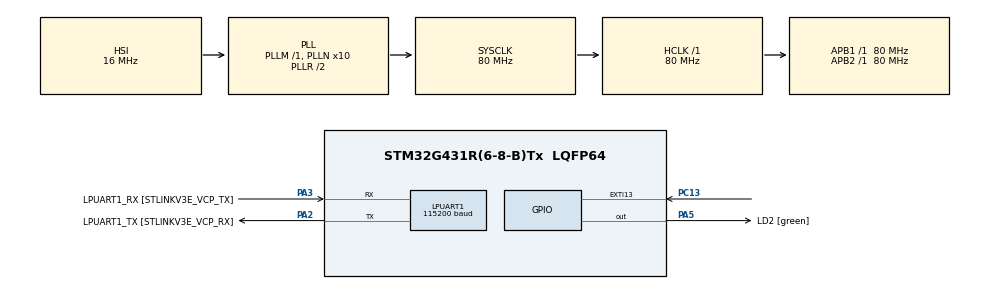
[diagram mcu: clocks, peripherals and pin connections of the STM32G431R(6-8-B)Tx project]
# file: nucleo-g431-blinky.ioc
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LPUART1.BaudRate=115200
LPUART1.WordLength=UART_WORDLENGTH_8B
Mcu.Family=STM32G4
Mcu.Name=STM32G431R(6-8-B)Tx
Mcu.Package=LQFP64
NVIC.EXTI15_10_IRQn=true\:0\:0\:false\:false\:true\:true\:true\:true
NVIC.PriorityGroup=NVIC_PRIORITYGROUP_4
NVIC.TIM1_UP_TIM16_IRQn=true\:0\:0\:false\:false\:true\:true\:true\:true
PA13.GPIO_Label=T_SWDIO
PA13.Mode=Serial_Wire
PA13.Signal=SYS_JTMS-SWDIO
PA14.GPIO_Label=T_SWCLK
PA14.Mode=Serial_Wire
PA14.Signal=SYS_JTCK-SWCLK
PA2.GPIO_Label=LPUART1_TX [STLINKV3E_VCP_RX]
PA2.Mode=Asynchronous
PA2.Signal=LPUART1_TX
PA3.GPIO_Label=LPUART1_RX [STLINKV3E_VCP_TX]
PA3.Mode=Asynchronous
PA3.Signal=LPUART1_RX
PA5.GPIO_Label=LD2 [green]
PA5.Signal=GPIO_Output
PB3.GPIO_Label=T_SWO
PB3.Signal=SYS_JTDO-SWO
PC13.GPIO_ModeDefaultEXTI=GPIO_MODE_IT_FALLING
PC13.Signal=GPXTI13
PC14-OSC32_IN.Mode=LSE-External-Oscillator
PC14-OSC32_IN.Signal=RCC_OSC32_IN
PC15-OSC32_OUT.Mode=LSE-External-Oscillator
PC15-OSC32_OUT.Signal=RCC_OSC32_OUT
PF0-OSC_IN.Mode=HSE-External-Oscillator
PF0-OSC_IN.Signal=RCC_OSC_IN
PF1-OSC_OUT.Mode=HSE-External-Oscillator
PF1-OSC_OUT.Signal=RCC_OSC_OUT
ProjectManager.HeapSize=0x200
ProjectManager.StackSize=0x400
ProjectManager.TargetToolchain=STM32CubeIDE
RCC.ADC12Freq_Value=80000000
RCC.AHBFreq_Value=80000000
RCC.APB1Freq_Value=80000000
RCC.APB1TimFreq_Value=80000000
RCC.APB2Freq_Value=80000000
RCC.APB2TimFreq_Value=80000000
RCC.CortexFreq_Value=80000000
RCC.EXTERNAL_CLOCK_VALUE=12288000
RCC.HCLKFreq_Value=80000000
RCC.HSE_VALUE=24000000
RCC.HSI48_VALUE=48000000
RCC.HSI_VALUE=16000000
RCC.PLLN=10
RCC.RTCClockSelection=RCC_RTCCLKSOURCE_LSE
RCC.SYSCLKFreq_VALUE=80000000
RCC.SYSCLKSource=RCC_SYSCLKSOURCE_PLLCLK
RCC.USBFreq_Value=80000000
RCC.VCOOutputFreq_Value=160000000
TIM16.Prescaler=8000-1
VP_SYS_VS_DBSignals.Mode=DisableDeadBatterySignals
VP_TIM16_VS_ClockSourceINT.Mode=Enable_Timer
board=NUCLEO-G431RB

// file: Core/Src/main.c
/* USER CODE BEGIN Header */
/**
  ******************************************************************************
  * @file           : main.c
  * @brief          : Main program body
  ******************************************************************************
  * @attention
  *
  * Copyright (c) 2023 STMicroelectronics.
  * All rights reserved.
  *
  * This software is licensed under terms that can be found in the LICENSE file
  * in the root directory of this software component.
  * If no LICENSE file comes with this software, it is provided AS-IS.
  *
  ******************************************************************************
  */
/* USER CODE END Header */
#include "main.h"

UART_HandleTypeDef hlpuart1;

TIM_HandleTypeDef htim16;

void SystemClock_Config(void);
static void MX_GPIO_Init(void);
static void MX_LPUART1_UART_Init(void);
static void MX_TIM16_Init(void);

/* USER CODE BEGIN 0 */
int count = 0;

void HAL_GPIO_EXTI_Callback(uint16_t GPIO_Pin){
	if(GPIO_Pin == GPIO_PIN_13){
		count++;
			if(count == 3){
				count = 0;
			}
	}
}
/* USER CODE END 0 */

int main(void)
{

  /* MCU Configuration--------------------------------------------------------*/

  /* Reset of all peripherals, Initializes the Flash interface and the Systick. */
  HAL_Init();

  /* Configure the system clock */
  SystemClock_Config();

  /* Initialize all configured peripherals */
  MX_GPIO_Init();
  MX_LPUART1_UART_Init();
  MX_TIM16_Init();
  /* USER CODE BEGIN 2 */
  HAL_TIM_Base_Start_IT(&htim16);

  uint16_t timer_val;

  timer_val = __HAL_TIM_GET_COUNTER(&htim16);
  /* USER CODE END 2 */

  /* Infinite loop */
  /* USER CODE BEGIN WHILE */
  while (1)
  {
	  switch (count){
	  	 case 0:
	  		if(__HAL_TIM_GET_COUNTER(&htim16) - timer_val >= 10000){
	  			GPIOA->ODR ^= GPIO_PIN_5;
	  			timer_val = __HAL_TIM_GET_COUNTER(&htim16);
	  		}
	  		break;
	  	 case 1:
	  		if(__HAL_TIM_GET_COUNTER(&htim16) - timer_val >= 5000){
	  			GPIOA->ODR ^= GPIO_PIN_5;
	  			timer_val = __HAL_TIM_GET_COUNTER(&htim16);
	  		}
		  	break;
	  	 case 2:
	  		if(__HAL_TIM_GET_COUNTER(&htim16) - timer_val >= 2500){
	  			HAL_GPIO_TogglePin(GPIOA, GPIO_PIN_5);
	  			timer_val = __HAL_TIM_GET_COUNTER(&htim16);
	  		}
			break;
	  }

    /* USER CODE END WHILE */

  }
}

void SystemClock_Config(void)
{
  RCC_OscInitTypeDef RCC_OscInitStruct = {0};
  RCC_ClkInitTypeDef RCC_ClkInitStruct = {0};

  /** Configure the main internal regulator output voltage
  */
  HAL_PWREx_ControlVoltageScaling(PWR_REGULATOR_VOLTAGE_SCALE1);

  /** Initializes the RCC Oscillators according to the specified parameters
  * in the RCC_OscInitTypeDef structure.
  */
  RCC_OscInitStruct.OscillatorType = RCC_OSCILLATORTYPE_HSI;
  RCC_OscInitStruct.HSIState = RCC_HSI_ON;
  RCC_OscInitStruct.HSICalibrationValue = RCC_HSICALIBRATION_DEFAULT;
  RCC_OscInitStruct.PLL.PLLState = RCC_PLL_ON;
  RCC_OscInitStruct.PLL.PLLSource = RCC_PLLSOURCE_HSI;
  RCC_OscInitStruct.PLL.PLLM = RCC_PLLM_DIV1;
  RCC_OscInitStruct.PLL.PLLN = 10;
  RCC_OscInitStruct.PLL.PLLP = RCC_PLLP_DIV2;
  RCC_OscInitStruct.PLL.PLLQ = RCC_PLLQ_DIV2;
  RCC_OscInitStruct.PLL.PLLR = RCC_PLLR_DIV2;
  if (HAL_RCC_OscConfig(&RCC_OscInitStruct) != HAL_OK)
  {
    Error_Handler();
  }

  /** Initializes the CPU, AHB and APB buses clocks
  */
  RCC_ClkInitStruct.ClockType = RCC_CLOCKTYPE_HCLK|RCC_CLOCKTYPE_SYSCLK
                              |RCC_CLOCKTYPE_PCLK1|RCC_CLOCKTYPE_PCLK2;
  RCC_ClkInitStruct.SYSCLKSource = RCC_SYSCLKSOURCE_PLLCLK;
  RCC_ClkInitStruct.AHBCLKDivider = RCC_SYSCLK_DIV1;
  RCC_ClkInitStruct.APB1CLKDivider = RCC_HCLK_DIV1;
  RCC_ClkInitStruct.APB2CLKDivider = RCC_HCLK_DIV1;

  if (HAL_RCC_ClockConfig(&RCC_ClkInitStruct, FLASH_LATENCY_2) != HAL_OK)
  {
    Error_Handler();
  }
}

static void MX_LPUART1_UART_Init(void)
{

  hlpuart1.Instance = LPUART1;
  hlpuart1.Init.BaudRate = 115200;
  hlpuart1.Init.WordLength = UART_WORDLENGTH_8B;
  hlpuart1.Init.StopBits = UART_STOPBITS_1;
  hlpuart1.Init.Parity = UART_PARITY_NONE;
  hlpuart1.Init.Mode = UART_MODE_TX_RX;
  hlpuart1.Init.HwFlowCtl = UART_HWCONTROL_NONE;
  hlpuart1.Init.OneBitSampling = UART_ONE_BIT_SAMPLE_DISABLE;
  hlpuart1.Init.ClockPrescaler = UART_PRESCALER_DIV1;
  hlpuart1.AdvancedInit.AdvFeatureInit = UART_ADVFEATURE_NO_INIT;
  if (HAL_UART_Init(&hlpuart1) != HAL_OK)
  {
    Error_Handler();
  }
  if (HAL_UARTEx_SetTxFifoThreshold(&hlpuart1, UART_TXFIFO_THRESHOLD_1_8) != HAL_OK)
  {
    Error_Handler();
  }
  if (HAL_UARTEx_SetRxFifoThreshold(&hlpuart1, UART_RXFIFO_THRESHOLD_1_8) != HAL_OK)
  {
    Error_Handler();
  }
  if (HAL_UARTEx_DisableFifoMode(&hlpuart1) != HAL_OK)
  {
    Error_Handler();
  }

}

static void MX_TIM16_Init(void)
{

  htim16.Instance = TIM16;
  htim16.Init.Prescaler = 8000-1;
  htim16.Init.CounterMode = TIM_COUNTERMODE_UP;
  htim16.Init.Period = 65535;
  htim16.Init.ClockDivision = TIM_CLOCKDIVISION_DIV1;
  htim16.Init.RepetitionCounter = 0;
  htim16.Init.AutoReloadPreload = TIM_AUTORELOAD_PRELOAD_DISABLE;
  if (HAL_TIM_Base_Init(&htim16) != HAL_OK)
  {
    Error_Handler();
  }

}

static void MX_GPIO_Init(void)
{
  GPIO_InitTypeDef GPIO_InitStruct = {0};

  /* GPIO Ports Clock Enable */
  __HAL_RCC_GPIOC_CLK_ENABLE();
  __HAL_RCC_GPIOF_CLK_ENABLE();
  __HAL_RCC_GPIOA_CLK_ENABLE();
  __HAL_RCC_GPIOB_CLK_ENABLE();

  /*Configure GPIO pin Output Level */
  HAL_GPIO_WritePin(LD2_GPIO_Port, LD2_Pin, GPIO_PIN_RESET);

  /*Configure GPIO pin : PC13 */
  GPIO_InitStruct.Pin = GPIO_PIN_13;
  GPIO_InitStruct.Mode = GPIO_MODE_IT_FALLING;
  GPIO_InitStruct.Pull = GPIO_NOPULL;
  HAL_GPIO_Init(GPIOC, &GPIO_InitStruct);

  /*Configure GPIO pin : LD2_Pin */
  GPIO_InitStruct.Pin = LD2_Pin;
  GPIO_InitStruct.Mode = GPIO_MODE_OUTPUT_PP;
  GPIO_InitStruct.Pull = GPIO_NOPULL;
  GPIO_InitStruct.Speed = GPIO_SPEED_FREQ_LOW;
  HAL_GPIO_Init(LD2_GPIO_Port, &GPIO_InitStruct);

  /* EXTI interrupt init*/
  HAL_NVIC_SetPriority(EXTI15_10_IRQn, 0, 0);
  HAL_NVIC_EnableIRQ(EXTI15_10_IRQn);

}

void Error_Handler(void)
{
  __disable_irq();
  while (1)
  {
  }
}
